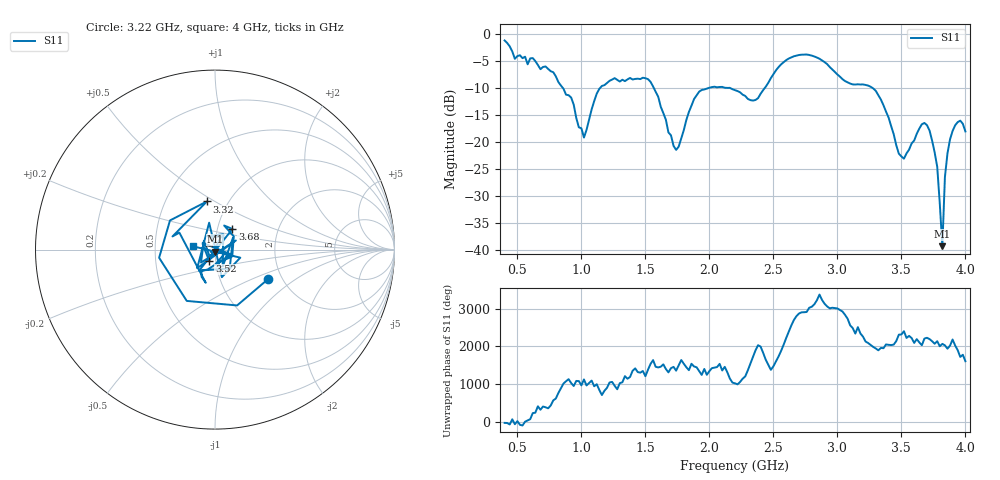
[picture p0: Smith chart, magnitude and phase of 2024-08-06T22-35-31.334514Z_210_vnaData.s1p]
!Created with skrf (http://scikit-rf.org).
# Hz S RI R 50.0
!freq ReS11 ImS11
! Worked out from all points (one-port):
!   181 points, 400 MHz to 4 GHz, reference 50 ohm
!   lowest |S11| = -39.3 dB at 3.82 GHz (marker M1), VSWR 1.02, Z = 50 - j1.08 ohm
!   |S11| at or under -10 dB: 857 MHz to 1.144 GHz (287.3 MHz wide, 28.7 % of centre); 1.567 GHz to 1.989 GHz (422.2 MHz wide, 23.7 % of centre); 3.277 GHz to end of sweep (the widest 3 of 4)
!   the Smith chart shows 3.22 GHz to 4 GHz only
!   S11 on the Smith chart (normalised r, x): 3.22 GHz: 1.70, -0.63; 3.32 GHz: 0.80, +0.46; 3.52 GHz: 0.93, -0.12; 3.68 GHz: 1.18, +0.28; 4 GHz: 0.78, +0.03
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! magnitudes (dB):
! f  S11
! 400 MHz  -1.1
! 480 MHz  -4.5
! 620 MHz  -4.4
! 860 MHz  -10.1
! 1.02 GHz  -19.2
! 1.14 GHz  -10.1
! 1.3 GHz  -8.8
! 1.54 GHz  -8.8
! 1.72 GHz  -20.7
! 1.76 GHz  -20.8
! 1.92 GHz  -10.6
! 2.2 GHz  -10.4
! 2.36 GHz  -12.2
! 2.66 GHz  -4.1
! 2.86 GHz  -4.5
! 3.1 GHz  -9.1
! 3.22 GHz  -9.4
! 3.32 GHz  -11.3
! 3.52 GHz  -23.1
! 3.56 GHz  -21.4
! 3.68 GHz  -16.4
! 3.72 GHz  -17.9
! 3.78 GHz  -24.6
! 3.82 GHz  -39.3
! 3.84 GHz  -26.5
! 3.88 GHz  -19.5
! 3.96 GHz  -16.0
! 4 GHz  -18.0
